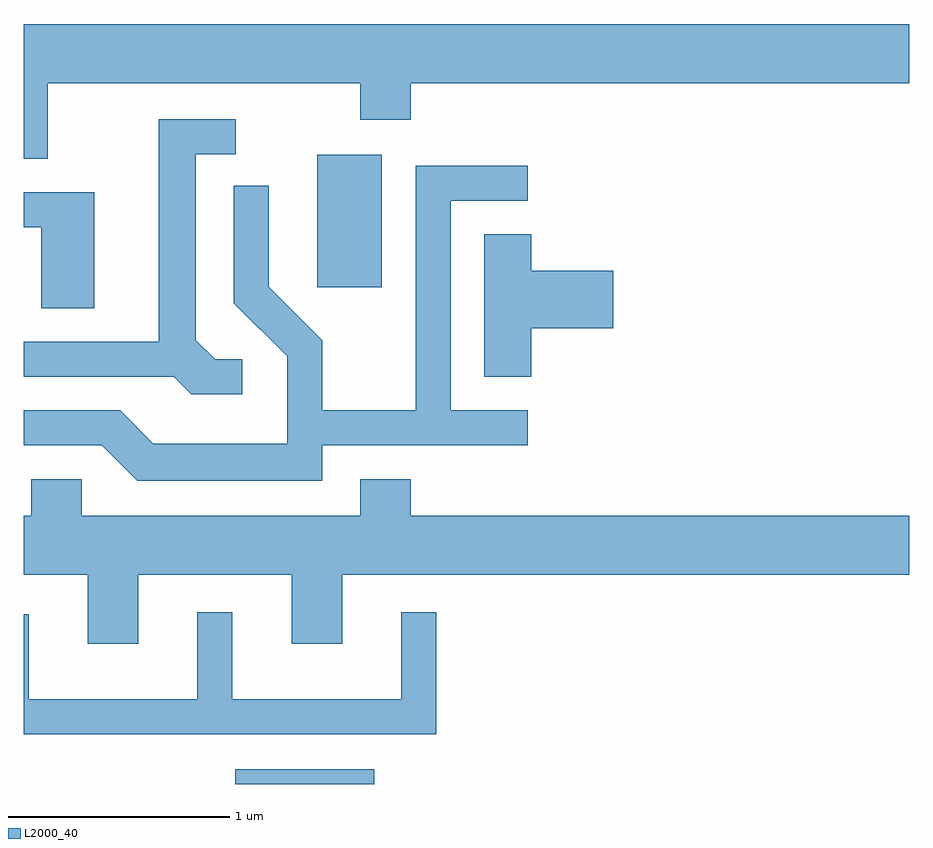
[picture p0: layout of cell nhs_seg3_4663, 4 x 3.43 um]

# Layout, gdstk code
import gdstk
lib = gdstk.Library(unit=1e-6, precision=1e-09)
def R(c, l, rs):  # rectangles x0, y0, x1, y1
    for r in rs: c.add(gdstk.rectangle(r[:2], r[2:], *l))
def P(c, l, *ps):  # polygons
    for p in ps: c.add(gdstk.Polygon(p, *l))
L2000_40 = (2000, 40)

nhs_seg3_4663 = lib.new_cell('nhs_seg3_4663')
R(nhs_seg3_4663, L2000_40, [(322.566,1193.892,323.194,1193.959), (322.936,1196.136,323.229,1196.734)])
P(nhs_seg3_4663, L2000_40, [(321.719,1197.056),(323.131,1197.056),(323.131,1196.891),(323.359,1196.891),(323.359,1197.056),(325.611,1197.056),(325.611,1197.324),(321.611,1197.324),(321.611,1196.716),(321.719,1196.716)],
  [(322.598,1195.809),(322.477,1195.809),(322.389,1195.897),(322.389,1196.736),(322.568,1196.736),(322.568,1196.894),(322.221,1196.894),(322.221,1195.889),(321.611,1195.889),(321.611,1195.731),(322.289,1195.731),(322.369,1195.651),(322.598,1195.651)],
  [(322.959,1195.421),(323.888,1195.421),(323.888,1195.579),(323.539,1195.579),(323.539,1196.526),(323.888,1196.526),(323.888,1196.684),(323.381,1196.684),(323.381,1195.579),(322.959,1195.579),(322.959,1195.897),(322.719,1196.137),(322.719,1196.593),(322.561,1196.593),(322.561,1196.064),(322.801,1195.824),(322.801,1195.429),(322.197,1195.429),(322.047,1195.579),(321.611,1195.579),(321.611,1195.421),(321.964,1195.421),(322.124,1195.261),(322.959,1195.261)],
  [(321.929,1196.564),(321.611,1196.564),(321.611,1196.406),(321.691,1196.406),(321.691,1196.041),(321.929,1196.041)],
  [(323.904,1195.951),(324.274,1195.951),(324.274,1196.209),(323.904,1196.209),(323.904,1196.374),(323.691,1196.374),(323.691,1195.731),(323.904,1195.731)],
  [(322.129,1194.836),(322.821,1194.836),(322.821,1194.526),(323.049,1194.526),(323.049,1194.836),(325.611,1194.836),(325.611,1195.104),(323.359,1195.104),(323.359,1195.269),(323.131,1195.269),(323.131,1195.104),(321.874,1195.104),(321.874,1195.269),(321.646,1195.269),(321.646,1195.104),(321.611,1195.104),(321.611,1194.836),(321.901,1194.836),(321.901,1194.526),(322.129,1194.526)],
  [(323.474,1194.668),(323.316,1194.668),(323.316,1194.274),(322.554,1194.274),(322.554,1194.668),(322.396,1194.668),(322.396,1194.274),(321.634,1194.274),(321.634,1194.659),(321.611,1194.659),(321.611,1194.116),(323.474,1194.116)])

lib.write_gds('nhs_seg3_4663.gds')
